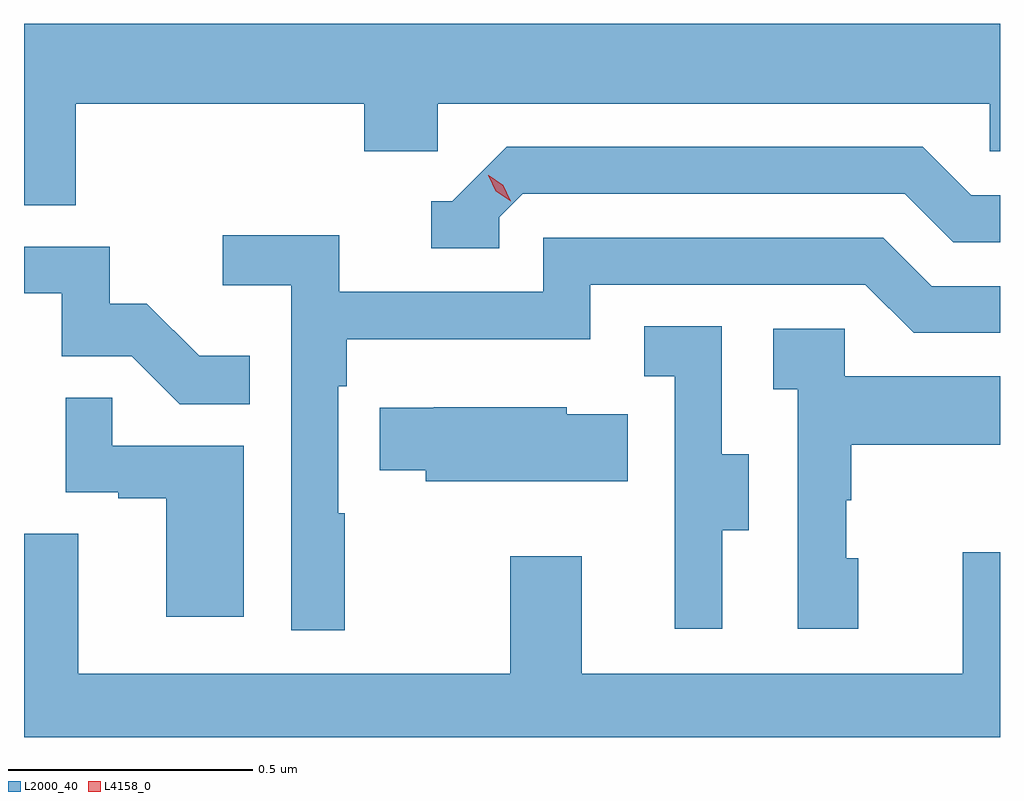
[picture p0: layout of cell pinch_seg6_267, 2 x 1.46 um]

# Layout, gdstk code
import gdstk
lib = gdstk.Library(unit=1e-6, precision=1e-09)
def P(c, l, *ps):  # polygons
    for p in ps: c.add(gdstk.Polygon(p, *l))
L2000_40 = (2000, 40)
L4158_0 = (4158, 0)

pinch_seg6_267 = lib.new_cell('pinch_seg6_267')
P(pinch_seg6_267, L2000_40, [(1113.764,919.364),(1114.355,919.364),(1114.355,919.266),(1114.506,919.266),(1114.506,919.364),(1115.637,919.364),(1115.637,919.266),(1115.658,919.266),(1115.658,919.528),(1113.658,919.528),(1113.658,919.156),(1113.764,919.156)],
  [(1114.632,919.131),(1114.68,919.179),(1115.463,919.179),(1115.562,919.08),(1115.658,919.08),(1115.658,919.176),(1115.599,919.176),(1115.5,919.275),(1114.647,919.275),(1114.536,919.164),(1114.493,919.164),(1114.493,919.068),(1114.632,919.068)],
  [(1114.315,918.524),(1114.302,918.524),(1114.302,918.785),(1114.319,918.785),(1114.319,918.881),(1114.818,918.881),(1114.818,918.993),(1115.382,918.993),(1115.481,918.894),(1115.658,918.894),(1115.658,918.99),(1115.518,918.99),(1115.419,919.089),(1114.722,919.089),(1114.722,918.978),(1114.304,918.978),(1114.304,919.094),(1114.065,919.094),(1114.065,918.992),(1114.206,918.992),(1114.206,918.285),(1114.315,918.285)],
  [(1114.121,918.847),(1114.017,918.847),(1113.91,918.954),(1113.834,918.954),(1113.834,919.071),(1113.658,919.071),(1113.658,918.975),(1113.735,918.975),(1113.735,918.846),(1113.879,918.846),(1113.977,918.748),(1114.121,918.748)],
  [(1115.089,918.49),(1115.143,918.49),(1115.143,918.645),(1115.088,918.645),(1115.088,918.908),(1114.929,918.908),(1114.929,918.805),(1114.992,918.805),(1114.992,918.501),(1114.991,918.501),(1114.991,918.288),(1115.089,918.288)],
  [(1115.368,918.432),(1115.343,918.432),(1115.343,918.551),(1115.353,918.551),(1115.353,918.665),(1115.658,918.665),(1115.658,918.805),(1115.34,918.805),(1115.34,918.903),(1115.193,918.903),(1115.193,918.779),(1115.244,918.779),(1115.244,918.288),(1115.368,918.288)],
  [(1114.108,918.663),(1113.839,918.663),(1113.839,918.761),(1113.744,918.761),(1113.744,918.567),(1113.851,918.567),(1113.851,918.555),(1113.95,918.555),(1113.95,918.312),(1114.108,918.312)],
  [(1114.895,918.727),(1114.77,918.727),(1114.77,918.742),(1114.498,918.742),(1114.498,918.741),(1114.387,918.741),(1114.387,918.613),(1114.481,918.613),(1114.481,918.59),(1114.895,918.59)],
  [(1115.658,918.445),(1115.582,918.445),(1115.582,918.196),(1114.801,918.196),(1114.801,918.436),(1114.654,918.436),(1114.654,918.196),(1113.769,918.196),(1113.769,918.482),(1113.658,918.482),(1113.658,918.065),(1115.658,918.065)])
P(pinch_seg6_267, L4158_0, [(1114.655,919.164),(1114.625,919.184),(1114.609,919.217),(1114.609,919.217),(1114.61,919.217),(1114.64,919.197),(1114.655,919.164),(1114.655,919.164)])

lib.write_gds('pinch_seg6_267.gds')
